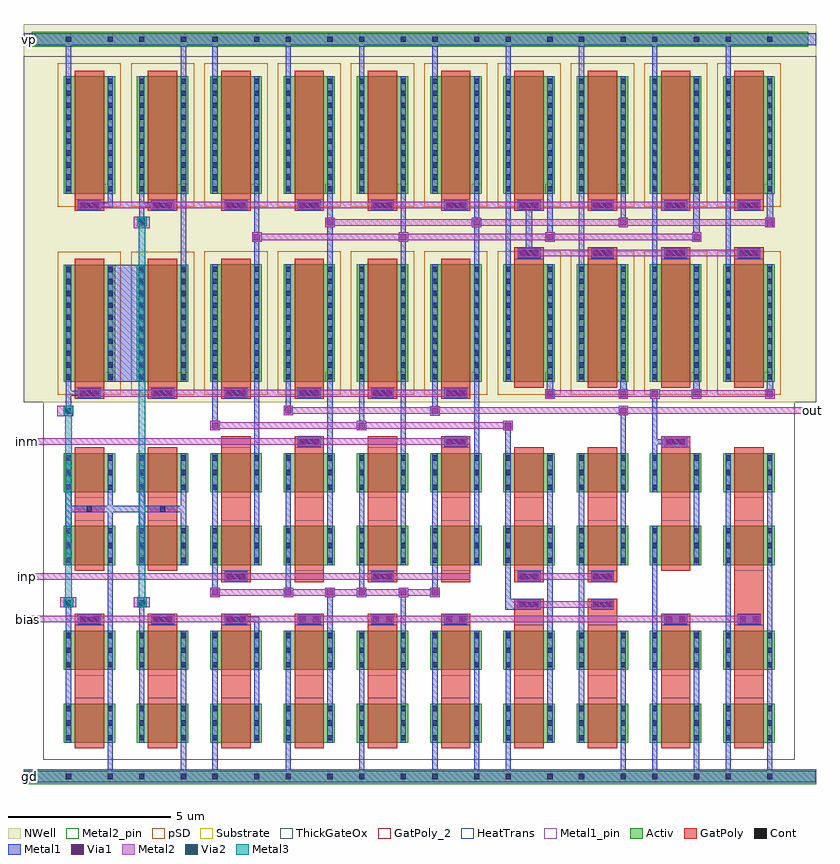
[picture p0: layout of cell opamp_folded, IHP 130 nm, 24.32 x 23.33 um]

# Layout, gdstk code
import gdstk
lib = gdstk.Library(unit=1e-6, precision=1e-09)
def R(c, l, rs):  # rectangles x0, y0, x1, y1
    for r in rs: c.add(gdstk.rectangle(r[:2], r[2:], *l))
def A(c, l, x, y, w, h, nx, ny, dx, dy):  # array of equal rectangles
    R(c, l, [(x+i*dx, y+j*dy, x+i*dx+w, y+j*dy+h) for i in range(nx) for j in range(ny)])
Activ = (1, 0)
GatPoly = (5, 0)
GatPoly_2 = (5, 2)
Cont = (6, 0)
Metal1 = (8, 0)
Metal1_pin = (8, 2)
Metal2 = (10, 0)
Metal2_pin = (10, 2)
pSD = (14, 0)
Via1 = (19, 0)
Via2 = (29, 0)
Metal3 = (30, 0)
NWell = (31, 0)
Substrate = (40, 0)
ThickGateOx = (44, 0)
HeatTrans = (51, 0)

pmoshv = lib.new_cell('pmosHV')
R(pmoshv, Activ, [(0,0,0.3,0.3), (0,0,1.58,3.6), (1.28,0,1.58,0.3)])
R(pmoshv, GatPoly, [(0.34,-0.18,1.24,3.78)])
R(pmoshv, GatPoly_2, [(0.34,-0.18,1.24,3.78)])
A(pmoshv, Cont, 0.07, 0.07, 0.16, 0.16, 1, 3, 0, 0.365)
A(pmoshv, Cont, 1.35, 0.07, 0.16, 0.16, 1, 3, 0, 0.365)
A(pmoshv, Cont, 0.07, 1.17, 0.16, 0.16, 1, 3, 0, 0.365)
A(pmoshv, Cont, 1.35, 1.17, 0.16, 0.16, 1, 3, 0, 0.365)
A(pmoshv, Cont, 0.07, 2.27, 0.16, 0.16, 1, 3, 0, 0.365)
A(pmoshv, Cont, 1.35, 2.27, 0.16, 0.16, 1, 3, 0, 0.365)
R(pmoshv, Cont, [(0.07,3.37,0.23,3.53), (1.35,3.37,1.51,3.53)])
R(pmoshv, Metal1, [(0.07,0,0.23,3.6), (1.35,0,1.51,3.6)])
R(pmoshv, Metal1_pin, [(0.07,0,0.23,3.6), (1.35,0,1.51,3.6)])
R(pmoshv, pSD, [(-0.18,-0.4,1.76,4)])
R(pmoshv, NWell, [(-0.62,-0.62,2.2,4.22)])
R(pmoshv, Substrate, [(1.28,0,1.58,0.3)])
R(pmoshv, ThickGateOx, [(-0.62,-0.62,2.2,4.22)])
R(pmoshv, HeatTrans, [(0.34,-0.18,1.24,3.78)])
pmoshv.add(gdstk.Label('pmosHV', (0.79,1.8), layer=63, texttype=0))
pmoshv.add(gdstk.Label('pmos', (0.79,1.8), layer=51, texttype=0))

via_stack_1 = lib.new_cell('via_stack$1')
R(via_stack_1, Metal1, [(-0.145,-0.145,0.145,0.145)])
R(via_stack_1, Metal2, [(-0.145,-0.145,0.145,0.145)])
R(via_stack_1, Via1, [(-0.095,-0.095,0.095,0.095)])

via_stack_6 = lib.new_cell('via_stack$6')
R(via_stack_6, Metal1, [(-0.145,-0.145,0.145,0.145)])
R(via_stack_6, Metal2, [(-0.145,-0.145,0.145,0.145)])
R(via_stack_6, Via1, [(-0.095,-0.095,0.095,0.095)])
R(via_stack_6, Via2, [(-0.095,-0.095,0.095,0.095)])
R(via_stack_6, Metal3, [(-0.145,-0.145,0.145,0.145)])

via_stack = lib.new_cell('via_stack')
R(via_stack, Metal1, [(-0.35,-0.145,0.35,0.145)])
R(via_stack, Metal2, [(-0.35,-0.145,0.35,0.145)])
R(via_stack, Via1, [(-0.3,-0.095,-0.11,0.095), (0.11,-0.095,0.3,0.095)])

nmoshv = lib.new_cell('nmosHV')
R(nmoshv, Activ, [(0,0,0.3,0.3), (0,0,1.58,1.2), (1.28,0,1.58,0.3)])
R(nmoshv, GatPoly, [(0.34,-0.18,1.24,1.38)])
R(nmoshv, GatPoly_2, [(0.34,-0.18,1.24,1.38)])
A(nmoshv, Cont, 0.07, 0.07, 0.16, 0.16, 1, 3, 0, 0.45)
A(nmoshv, Cont, 1.35, 0.07, 0.16, 0.16, 1, 3, 0, 0.45)
R(nmoshv, Metal1, [(0.07,0,0.23,1.2), (1.35,0,1.51,1.2)])
R(nmoshv, Metal1_pin, [(0.07,0,0.23,1.2), (1.35,0,1.51,1.2)])
R(nmoshv, ThickGateOx, [(-0.27,-0.52,1.85,1.72)])
R(nmoshv, HeatTrans, [(0.34,-0.18,1.24,1.38)])
nmoshv.add(gdstk.Label('nmosHV', (0.79,0.6), layer=63, texttype=0))
nmoshv.add(gdstk.Label('nmosHV', (0.79,0.6), layer=51, texttype=0))

opamp_folded = lib.new_cell('opamp_folded')
A(opamp_folded, GatPoly, 6.06, 5.45, 0.9, 0.34, 4, 2, 2.25, 4.14)
A(opamp_folded, GatPoly, 6.06, 11.08, 0.9, 0.34, 4, 1, 2.25, 0)
A(opamp_folded, GatPoly, 15.06, 15.38, 0.9, 0.34, 4, 1, 2.25, 0)
A(opamp_folded, GatPoly, 1.56, 16.85, 0.9, 0.34, 10, 1, 2.25, 0)
R(opamp_folded, GatPoly, [(1.56,11.075,2.46,11.415), (3.81,11.075,4.71,11.415)])
A(opamp_folded, Cont, 1.71, 4.23, 0.6, 0.16, 3, 1, 2.25, 0)
A(opamp_folded, Cont, 6.21, 5.54, 0.6, 0.16, 3, 1, 4.5, 0)
A(opamp_folded, Cont, 1.71, 11.17, 0.6, 0.16, 6, 1, 2.25, 0)
A(opamp_folded, Cont, 15.21, 15.47, 0.6, 0.16, 4, 1, 2.25, 0)
A(opamp_folded, Cont, 1.71, 16.94, 0.6, 0.16, 10, 1, 2.25, 0)
R(opamp_folded, Cont, [(1.29,-0.6,1.45,-0.44), (2.57,-0.6,2.73,-0.44), (3.54,-0.6,3.7,-0.44), (4.82,-0.6,4.98,-0.44), (5.79,-0.6,5.95,-0.44), (7.07,-0.6,7.23,-0.44), (8.04,-0.6,8.2,-0.44), (9.32,-0.6,9.48,-0.44), (10.29,-0.6,10.45,-0.44), (11.57,-0.6,11.73,-0.44), (12.54,-0.6,12.7,-0.44), (13.82,-0.6,13.98,-0.44), (14.79,-0.6,14.95,-0.44), (16.07,-0.6,16.23,-0.44), (17.04,-0.6,17.2,-0.44), (18.32,-0.6,18.48,-0.44), (19.29,-0.6,19.45,-0.44), (20.57,-0.6,20.73,-0.44), (21.54,-0.6,21.7,-0.44), (22.82,-0.6,22.98,-0.44), (15.21,4.68,15.81,4.84), (17.46,4.68,18.06,4.84), (17.46,5.54,18.06,5.7), (1.93,7.61,2.09,7.77), (4.18,7.61,4.34,7.77), (8.46,9.68,9.06,9.84), (12.96,9.68,13.56,9.84), (19.71,9.68,20.31,9.84), (1.29,22.03,1.45,22.19), (2.57,22.03,2.73,22.19), (3.54,22.03,3.7,22.19), (4.82,22.03,4.98,22.19), (5.79,22.03,5.95,22.19), (7.07,22.03,7.23,22.19), (8.04,22.03,8.2,22.19), (9.32,22.03,9.48,22.19), (10.29,22.03,10.45,22.19), (11.57,22.03,11.73,22.19), (12.54,22.03,12.7,22.19), (13.82,22.03,13.98,22.19), (14.79,22.03,14.95,22.19), (16.07,22.03,16.23,22.19), (17.04,22.03,17.2,22.19), (18.32,22.03,18.48,22.19), (19.29,22.03,19.45,22.19), (20.57,22.03,20.73,22.19), (21.54,22.03,21.7,22.19), (22.82,22.03,22.98,22.19)])
A(opamp_folded, Metal1, 1.66, 4.14, 0.7, 0.34, 6, 1, 2.25, 0)
A(opamp_folded, Metal1, 6.16, 5.45, 0.7, 0.34, 3, 1, 4.5, 0)
A(opamp_folded, Metal1, 6.16, 11.08, 0.7, 0.34, 4, 1, 2.25, 0)
A(opamp_folded, Metal1, 15.16, 15.38, 0.7, 0.34, 4, 1, 2.25, 0)
A(opamp_folded, Metal1, 1.66, 16.85, 0.7, 0.34, 10, 1, 2.25, 0)
R(opamp_folded, Metal1, [(19.66,4.14,20.36,4.48), (21.92,4.14,22.62,4.48), (15.16,4.595,15.86,4.935), (17.41,4.595,18.11,4.935), (17.41,5.45,18.11,5.79), (8.41,9.59,9.11,9.93), (12.91,9.59,13.61,9.93), (19.66,9.59,20.36,9.93), (1.66,11.075,2.36,11.415), (3.91,11.075,4.61,11.415), (2.57,11.595,3.7,15.195)])
R(opamp_folded, Metal1_pin, [(0,-0.7,0.36,-0.34), (0,21.93,0.36,22.29)])
R(opamp_folded, Metal2, [(1.12,4.67,1.61,4.98), (3.38,4.67,3.87,4.98), (19.56,9.59,20.46,9.93), (1.02,10.545,1.51,10.855), (3.38,16.305,3.87,16.665)])
R(opamp_folded, Metal2_pin, [(0,4.21,0.2,4.41), (0,5.52,0.2,5.72), (0,9.66,0.2,9.86), (24.12,10.61,24.32,10.81)])
R(opamp_folded, NWell, [(0,10.975,24.32,22.58)])
R(opamp_folded, ThickGateOx, [(0.6,0,23.67,10.975), (0,10.975,24.32,21.59)])
opamp_folded.add(gdstk.FlexPath([(0,-0.52),(24.32,-0.52)], 0.36, ends="flush", simple_path=True, layer=8, datatype=0))  # Metal1
opamp_folded.add(gdstk.FlexPath([(3.62,17.37),(3.62,17.02),(3.91,17.02)], 0.16, ends="flush", simple_path=True, layer=8, datatype=0))  # Metal1
opamp_folded.add(gdstk.FlexPath([(2.65,17.37),(2.65,17.02),(2.36,17.02)], 0.16, ends="flush", simple_path=True, layer=8, datatype=0))  # Metal1
opamp_folded.add(gdstk.FlexPath([(11.65,20.935),(11.65,15.935)], 0.16, ends="flush", simple_path=True, layer=8, datatype=0))  # Metal1
opamp_folded.add(gdstk.FlexPath([(9.4,20.97),(9.4,16.385)], 0.16, ends="flush", simple_path=True, layer=8, datatype=0))  # Metal1
opamp_folded.add(gdstk.FlexPath([(7.15,20.935),(7.15,15.935)], 0.16, ends="flush", simple_path=True, layer=8, datatype=0))  # Metal1
opamp_folded.add(gdstk.FlexPath([(4.9,15.195),(4.9,22.11)], 0.16, ends="flush", simple_path=True, layer=8, datatype=0))  # Metal1
opamp_folded.add(gdstk.FlexPath([(13.9,20.97),(13.9,16.385)], 0.16, ends="flush", simple_path=True, layer=8, datatype=0))  # Metal1
opamp_folded.add(gdstk.FlexPath([(16.15,20.935),(16.15,15.935)], 0.16, ends="flush", simple_path=True, layer=8, datatype=0))  # Metal1
opamp_folded.add(gdstk.FlexPath([(18.4,20.97),(18.4,16.385)], 0.16, ends="flush", simple_path=True, layer=8, datatype=0))  # Metal1
opamp_folded.add(gdstk.FlexPath([(20.65,17.37),(20.65,15.89)], 0.2, ends="flush", simple_path=True, layer=8, datatype=0))  # Metal1
opamp_folded.add(gdstk.FlexPath([(22.9,17.37),(22.9,16.345)], 0.2, ends="flush", simple_path=True, layer=8, datatype=0))  # Metal1
opamp_folded.add(gdstk.FlexPath([(15.51,17.105),(15.51,15.72)], 0.2, ends="flush", simple_path=True, layer=8, datatype=0))  # Metal1
opamp_folded.add(gdstk.FlexPath([(1.66,11.245),(1.37,11.245),(1.37,11.595)], 0.16, ends="flush", simple_path=True, layer=8, datatype=0))  # Metal1
opamp_folded.add(gdstk.FlexPath([(1.37,11.245),(1.37,10.545)], 0.16, ends="flush", simple_path=True, layer=8, datatype=0))  # Metal1
opamp_folded.add(gdstk.FlexPath([(21.62,11.6),(21.62,22.11)], 0.16, ends="flush", simple_path=True, layer=8, datatype=0))  # Metal1
opamp_folded.add(gdstk.FlexPath([(19.37,11.6),(19.37,22.11)], 0.16, ends="flush", simple_path=True, layer=8, datatype=0))  # Metal1
opamp_folded.add(gdstk.FlexPath([(3.62,16.375),(3.62,17.37)], 0.16, ends="flush", simple_path=True, layer=8, datatype=0))  # Metal1
opamp_folded.add(gdstk.FlexPath([(8.12,11.9),(8.12,10.61)], 0.16, ends="flush", simple_path=True, layer=8, datatype=0))  # Metal1
opamp_folded.add(gdstk.FlexPath([(12.62,11.9),(12.62,10.61)], 0.16, ends="flush", simple_path=True, layer=8, datatype=0))  # Metal1
opamp_folded.add(gdstk.FlexPath([(1.37,0.52),(1.37,4.96)], 0.16, ends="flush", simple_path=True, layer=8, datatype=0))  # Metal1
opamp_folded.add(gdstk.FlexPath([(15.16,4.765),(14.78,4.765)], 0.34, ends="flush", simple_path=True, layer=8, datatype=0))  # Metal1
opamp_folded.add(gdstk.FlexPath([(0,22.11),(24.32,22.11)], 0.36, ends="flush", simple_path=True, layer=8, datatype=0))  # Metal1
opamp_folded.add(gdstk.FlexPath([(4.9,3.96),(4.9,-0.52)], 0.16, ends="flush", simple_path=True, layer=8, datatype=0))  # Metal1
opamp_folded.add(gdstk.FlexPath([(5.87,3.96),(5.87,-0.52)], 0.16, ends="flush", simple_path=True, layer=8, datatype=0))  # Metal1
opamp_folded.add(gdstk.FlexPath([(8.12,3.96),(8.12,-0.52)], 0.16, ends="flush", simple_path=True, layer=8, datatype=0))  # Metal1
opamp_folded.add(gdstk.FlexPath([(10.37,3.96),(10.37,-0.52)], 0.16, ends="flush", simple_path=True, layer=8, datatype=0))  # Metal1
opamp_folded.add(gdstk.FlexPath([(13.9,3.96),(13.9,-0.52)], 0.16, ends="flush", simple_path=True, layer=8, datatype=0))  # Metal1
opamp_folded.add(gdstk.FlexPath([(12.62,3.96),(12.62,-0.52)], 0.16, ends="flush", simple_path=True, layer=8, datatype=0))  # Metal1
opamp_folded.add(gdstk.FlexPath([(14.87,3.96),(14.87,-0.52)], 0.16, ends="flush", simple_path=True, layer=8, datatype=0))  # Metal1
opamp_folded.add(gdstk.FlexPath([(18.4,3.96),(18.4,-0.52)], 0.16, ends="flush", simple_path=True, layer=8, datatype=0))  # Metal1
opamp_folded.add(gdstk.FlexPath([(20.65,3.96),(20.65,-0.52)], 0.16, ends="flush", simple_path=True, layer=8, datatype=0))  # Metal1
opamp_folded.add(gdstk.FlexPath([(21.62,9.41),(21.62,-0.52)], 0.16, ends="flush", simple_path=True, layer=8, datatype=0))  # Metal1
opamp_folded.add(gdstk.FlexPath([(22.9,9.41),(22.9,-0.52)], 0.16, ends="flush", simple_path=True, layer=8, datatype=0))  # Metal1
opamp_folded.add(gdstk.FlexPath([(16.15,11.6),(16.15,11.125)], 0.2, ends="flush", simple_path=True, layer=8, datatype=0))  # Metal1
opamp_folded.add(gdstk.FlexPath([(18.4,11.6),(18.4,11.125)], 0.2, ends="flush", simple_path=True, layer=8, datatype=0))  # Metal1
opamp_folded.add(gdstk.FlexPath([(1.37,17.37),(1.37,22.11)], 0.16, ends="flush", simple_path=True, layer=8, datatype=0))  # Metal1
opamp_folded.add(gdstk.FlexPath([(5.87,17.37),(5.87,22.11)], 0.16, ends="flush", simple_path=True, layer=8, datatype=0))  # Metal1
opamp_folded.add(gdstk.FlexPath([(8.12,17.37),(8.12,22.11)], 0.16, ends="flush", simple_path=True, layer=8, datatype=0))  # Metal1
opamp_folded.add(gdstk.FlexPath([(10.37,17.37),(10.37,22.11)], 0.16, ends="flush", simple_path=True, layer=8, datatype=0))  # Metal1
opamp_folded.add(gdstk.FlexPath([(12.62,17.37),(12.62,22.11)], 0.16, ends="flush", simple_path=True, layer=8, datatype=0))  # Metal1
opamp_folded.add(gdstk.FlexPath([(17.12,11.6),(17.12,22.11)], 0.16, ends="flush", simple_path=True, layer=8, datatype=0))  # Metal1
opamp_folded.add(gdstk.FlexPath([(14.87,11.6),(14.87,22.11)], 0.16, ends="flush", simple_path=True, layer=8, datatype=0))  # Metal1
opamp_folded.add(gdstk.FlexPath([(20.65,11.6),(20.65,11.13)], 0.2, ends="flush", simple_path=True, layer=8, datatype=0))  # Metal1
opamp_folded.add(gdstk.FlexPath([(22.9,11.6),(22.9,11.13)], 0.2, ends="flush", simple_path=True, layer=8, datatype=0))  # Metal1
opamp_folded.add(gdstk.FlexPath([(19.37,9.41),(19.37,11.37)], 0.16, ends="flush", simple_path=True, layer=8, datatype=0))  # Metal1
opamp_folded.add(gdstk.FlexPath([(1.37,7.17),(1.37,8.21)], 0.16, ends="flush", simple_path=True, layer=8, datatype=0))  # Metal1
opamp_folded.add(gdstk.FlexPath([(2.65,7.17),(2.65,8.21)], 0.16, ends="flush", simple_path=True, layer=8, datatype=0))  # Metal1
opamp_folded.add(gdstk.FlexPath([(3.62,7.17),(3.62,8.21)], 0.16, ends="flush", simple_path=True, layer=8, datatype=0))  # Metal1
opamp_folded.add(gdstk.FlexPath([(4.9,7.17),(4.9,8.21)], 0.16, ends="flush", simple_path=True, layer=8, datatype=0))  # Metal1
opamp_folded.add(gdstk.FlexPath([(2.65,5.97),(2.65,3.96)], 0.16, ends="flush", simple_path=True, layer=8, datatype=0))  # Metal1
opamp_folded.add(gdstk.FlexPath([(1.365,7.69),(4.9,7.69)], 0.2, ends="flush", simple_path=True, layer=8, datatype=0))  # Metal1
opamp_folded.add(gdstk.FlexPath([(14.86,4.595),(14.86,10.345)], 0.16, ends="flush", simple_path=True, layer=8, datatype=0))  # Metal1
opamp_folded.add(gdstk.FlexPath([(19.37,5.97),(19.37,-0.52)], 0.16, ends="flush", simple_path=True, layer=8, datatype=0))  # Metal1
opamp_folded.add(gdstk.FlexPath([(10.37,9.41),(10.37,5.03)], 0.16, ends="flush", simple_path=True, layer=8, datatype=0))  # Metal1
opamp_folded.add(gdstk.FlexPath([(7.15,5.97),(7.15,15.93)], 0.16, ends="flush", simple_path=True, layer=8, datatype=0))  # Metal1
opamp_folded.add(gdstk.FlexPath([(12.62,9.41),(12.62,5.03)], 0.16, ends="flush", simple_path=True, layer=8, datatype=0))  # Metal1
opamp_folded.add(gdstk.FlexPath([(9.4,5.97),(9.4,16.355)], 0.16, ends="flush", simple_path=True, layer=8, datatype=0))  # Metal1
opamp_folded.add(gdstk.FlexPath([(11.65,3.96),(11.65,0.52)], 0.16, ends="flush", simple_path=True, layer=8, datatype=0))  # Metal1
opamp_folded.add(gdstk.FlexPath([(11.65,0.52),(11.65,5.24)], 0.16, ends="flush", simple_path=True, layer=8, datatype=0))  # Metal1
opamp_folded.add(gdstk.FlexPath([(16.15,0.52),(16.15,9.41)], 0.16, ends="flush", simple_path=True, layer=8, datatype=0))  # Metal1
opamp_folded.add(gdstk.FlexPath([(17.12,9.41),(17.12,0.52)], 0.16, ends="flush", simple_path=True, layer=8, datatype=0))  # Metal1
opamp_folded.add(gdstk.FlexPath([(11.65,5.97),(11.65,15.935)], 0.16, ends="flush", simple_path=True, layer=8, datatype=0))  # Metal1
opamp_folded.add(gdstk.FlexPath([(13.9,5.97),(13.9,16.35)], 0.16, ends="flush", simple_path=True, layer=8, datatype=0))  # Metal1
opamp_folded.add(gdstk.FlexPath([(8.12,9.34),(8.12,5.03)], 0.16, ends="flush", simple_path=True, layer=8, datatype=0))  # Metal1
opamp_folded.add(gdstk.FlexPath([(5.87,9.41),(5.87,5.035)], 0.16, ends="flush", simple_path=True, layer=8, datatype=0))  # Metal1
opamp_folded.add(gdstk.FlexPath([(18.4,5.97),(18.4,10.765)], 0.16, ends="flush", simple_path=True, layer=8, datatype=0))  # Metal1
opamp_folded.add(gdstk.FlexPath([(9.4,0.52),(9.4,5.24)], 0.16, ends="flush", simple_path=True, layer=8, datatype=0))  # Metal1
opamp_folded.add(gdstk.FlexPath([(7.15,0.52),(7.15,4.31),(6.86,4.31)], 0.16, ends="flush", simple_path=True, layer=8, datatype=0))  # Metal1
opamp_folded.add(gdstk.FlexPath([(5.87,11.865),(5.87,10.15)], 0.16, ends="flush", simple_path=True, layer=8, datatype=0))  # Metal1
opamp_folded.add(gdstk.FlexPath([(10.37,11.865),(10.37,10.15)], 0.16, ends="flush", simple_path=True, layer=8, datatype=0))  # Metal1
opamp_folded.add(gdstk.FlexPath([(3.62,0.52),(3.62,4.83)], 0.16, ends="flush", simple_path=True, layer=8, datatype=0))  # Metal1
opamp_folded.add(gdstk.FlexPath([(20.65,7.17),(20.65,8.21)], 0.16, ends="flush", simple_path=True, layer=8, datatype=0))  # Metal1
opamp_folded.add(gdstk.FlexPath([(19.37,9.41),(19.37,9.76),(19.66,9.76)], 0.16, ends="flush", simple_path=True, layer=8, datatype=0))  # Metal1
opamp_folded.add(gdstk.FlexPath([(2.65,3.96),(2.65,-0.52)], 0.16, ends="flush", simple_path=True, layer=8, datatype=0))  # Metal1
opamp_folded.add(gdstk.FlexPath([(22.61,17.02),(4.56,17.02)], 0.2, ends="flush", simple_path=True, layer=10, datatype=0))  # Metal2
opamp_folded.add(gdstk.FlexPath([(4.61,17.02),(1.66,17.02)], 0.2, ends="flush", simple_path=True, layer=10, datatype=0))  # Metal2
opamp_folded.add(gdstk.FlexPath([(23.05,16.49),(9.255,16.49)], 0.2, ends="flush", simple_path=True, layer=10, datatype=0))  # Metal2
opamp_folded.add(gdstk.FlexPath([(7.005,16.035),(20.8,16.035)], 0.2, ends="flush", simple_path=True, layer=10, datatype=0))  # Metal2
opamp_folded.add(gdstk.FlexPath([(1.66,11.245),(13.61,11.245)], 0.2, ends="flush", simple_path=True, layer=10, datatype=0))  # Metal2
opamp_folded.add(gdstk.FlexPath([(15.16,15.55),(22.61,15.55)], 0.2, ends="flush", simple_path=True, layer=10, datatype=0))  # Metal2
opamp_folded.add(gdstk.FlexPath([(8.02,10.71),(24.32,10.71)], 0.2, ends="flush", simple_path=True, layer=10, datatype=0))  # Metal2
opamp_folded.add(gdstk.FlexPath([(13.71,9.76),(0,9.76)], 0.2, ends="flush", simple_path=True, layer=10, datatype=0))  # Metal2
opamp_folded.add(gdstk.FlexPath([(13.71,5.62),(0,5.62)], 0.2, ends="flush", simple_path=True, layer=10, datatype=0))  # Metal2
opamp_folded.add(gdstk.FlexPath([(15.16,4.765),(18.11,4.765)], 0.2, ends="flush", simple_path=True, layer=10, datatype=0))  # Metal2
opamp_folded.add(gdstk.FlexPath([(23.045,11.23),(16.005,11.23)], 0.2, ends="flush", simple_path=True, layer=10, datatype=0))  # Metal2
opamp_folded.add(gdstk.FlexPath([(0,4.31),(22.62,4.31)], 0.2, ends="flush", simple_path=True, layer=10, datatype=0))  # Metal2
opamp_folded.add(gdstk.FlexPath([(15.16,5.62),(18.11,5.62)], 0.2, ends="flush", simple_path=True, layer=10, datatype=0))  # Metal2
opamp_folded.add(gdstk.FlexPath([(5.77,10.25),(14.94,10.25)], 0.2, ends="flush", simple_path=True, layer=10, datatype=0))  # Metal2
opamp_folded.add(gdstk.FlexPath([(12.765,5.135),(5.725,5.135)], 0.2, ends="flush", simple_path=True, layer=10, datatype=0))  # Metal2
opamp_folded.add(gdstk.FlexPath([(3.625,4.825),(3.625,16.58)], 0.2, ends="flush", simple_path=True, layer=30, datatype=0))  # Metal3
opamp_folded.add(gdstk.FlexPath([(1.365,10.575),(1.365,4.825)], 0.2, ends="flush", simple_path=True, layer=30, datatype=0))  # Metal3
opamp_folded.add(gdstk.FlexPath([(0,-0.52),(24.32,-0.52)], 0.46, ends="flush", simple_path=True, layer=1, datatype=0))  # Activ
opamp_folded.add(gdstk.FlexPath([(0.24,22.11),(24.08,22.11)], 0.46, ends="flush", simple_path=True, layer=1, datatype=0))  # Activ
opamp_folded.add(gdstk.FlexPath([(17.76,0.34),(17.76,4.935)], 0.9, ends="flush", simple_path=True, layer=5, datatype=0))  # GatPoly
opamp_folded.add(gdstk.FlexPath([(15.51,0.34),(15.51,4.935)], 0.9, ends="flush", simple_path=True, layer=5, datatype=0))  # GatPoly
opamp_folded.add(gdstk.FlexPath([(11.01,7.35),(11.01,8.03)], 0.9, ends="flush", simple_path=True, layer=5, datatype=0))  # GatPoly
opamp_folded.add(gdstk.FlexPath([(13.26,7.35),(13.26,8.03)], 0.9, ends="flush", simple_path=True, layer=5, datatype=0))  # GatPoly
opamp_folded.add(gdstk.FlexPath([(11.01,0.34),(11.01,4.48)], 0.9, ends="flush", simple_path=True, layer=5, datatype=0))  # GatPoly
opamp_folded.add(gdstk.FlexPath([(8.76,0.34),(8.76,4.48)], 0.9, ends="flush", simple_path=True, layer=5, datatype=0))  # GatPoly
opamp_folded.add(gdstk.FlexPath([(13.26,0.34),(13.26,4.48)], 0.9, ends="flush", simple_path=True, layer=5, datatype=0))  # GatPoly
opamp_folded.add(gdstk.FlexPath([(20.01,0.34),(20.01,4.48)], 0.9, ends="flush", simple_path=True, layer=5, datatype=0))  # GatPoly
opamp_folded.add(gdstk.FlexPath([(8.76,7.35),(8.76,8.03)], 0.9, ends="flush", simple_path=True, layer=5, datatype=0))  # GatPoly
opamp_folded.add(gdstk.FlexPath([(6.51,7.35),(6.51,8.03)], 0.9, ends="flush", simple_path=True, layer=5, datatype=0))  # GatPoly
opamp_folded.add(gdstk.FlexPath([(15.51,5.45),(15.51,8.03)], 0.9, ends="flush", simple_path=True, layer=5, datatype=0))  # GatPoly
opamp_folded.add(gdstk.FlexPath([(17.76,5.45),(17.76,8.03)], 0.9, ends="flush", simple_path=True, layer=5, datatype=0))  # GatPoly
opamp_folded.add(gdstk.FlexPath([(2.01,0.34),(2.01,4.48)], 0.9, ends="flush", simple_path=True, layer=5, datatype=0))  # GatPoly
opamp_folded.add(gdstk.FlexPath([(4.26,0.34),(4.26,4.48)], 0.9, ends="flush", simple_path=True, layer=5, datatype=0))  # GatPoly
opamp_folded.add(gdstk.FlexPath([(4.26,7.35),(4.26,8.03)], 0.9, ends="flush", simple_path=True, layer=5, datatype=0))  # GatPoly
opamp_folded.add(gdstk.FlexPath([(2.01,7.35),(2.01,8.03)], 0.9, ends="flush", simple_path=True, layer=5, datatype=0))  # GatPoly
opamp_folded.add(gdstk.FlexPath([(6.51,4.48),(6.51,0.34)], 0.9, ends="flush", simple_path=True, layer=5, datatype=0))  # GatPoly
opamp_folded.add(gdstk.FlexPath([(20.01,9.93),(20.01,5.79)], 0.9, ends="flush", simple_path=True, layer=5, datatype=0))  # GatPoly
opamp_folded.add(gdstk.FlexPath([(22.26,0.34),(22.26,4.48)], 0.9, ends="flush", simple_path=True, layer=5, datatype=0))  # GatPoly
opamp_folded.add(gdstk.FlexPath([(22.26,9.59),(22.26,4.48)], 0.9, ends="flush", simple_path=True, layer=5, datatype=0))  # GatPoly
opamp_folded.add(gdstk.FlexPath([(0.03,-0.52),(24.29,-0.52)], 0.36, ends="flush", simple_path=True, layer=14, datatype=0))  # pSD
opamp_folded.add(gdstk.Reference(pmoshv, (10.22,17.37)))
opamp_folded.add(gdstk.Reference(pmoshv, (12.47,17.37)))
opamp_folded.add(gdstk.Reference(via_stack_1, (18.4,10.71)))
opamp_folded.add(gdstk.Reference(via_stack_1, (12.62,10.705)))
opamp_folded.add(gdstk.Reference(pmoshv, (10.22,11.6)))
opamp_folded.add(gdstk.Reference(pmoshv, (12.47,11.6)))
opamp_folded.add(gdstk.Reference(via_stack_1, (8.115,10.72)))
opamp_folded.add(gdstk.Reference(via_stack_6, (1.365,10.71)))
opamp_folded.add(gdstk.Reference(via_stack, (13.26,11.25)))
opamp_folded.add(gdstk.Reference(pmoshv, (19.22,17.37)))
opamp_folded.add(gdstk.Reference(pmoshv, (21.47,17.37)))
opamp_folded.add(gdstk.Reference(via_stack_1, (13.9,16.49)))
opamp_folded.add(gdstk.Reference(via_stack_1, (16.15,16.035)))
opamp_folded.add(gdstk.Reference(via_stack_1, (18.4,16.49)))
opamp_folded.add(gdstk.Reference(via_stack_1, (20.655,16.035)))
opamp_folded.add(gdstk.Reference(via_stack_1, (22.905,16.485)))
opamp_folded.add(gdstk.Reference(via_stack, (13.26,17.02)))
opamp_folded.add(gdstk.Reference(via_stack, (15.51,17.02)))
opamp_folded.add(gdstk.Reference(via_stack, (17.76,17.02)))
opamp_folded.add(gdstk.Reference(via_stack, (20.01,17.02)))
opamp_folded.add(gdstk.Reference(via_stack, (22.26,17.02)))
opamp_folded.add(gdstk.Reference(pmoshv, (14.72,17.37)))
opamp_folded.add(gdstk.Reference(pmoshv, (14.72,11.6)))
opamp_folded.add(gdstk.Reference(pmoshv, (21.47,11.6)))
opamp_folded.add(gdstk.Reference(via_stack, (15.51,15.55)))
opamp_folded.add(gdstk.Reference(via_stack, (17.76,15.55)))
opamp_folded.add(gdstk.Reference(via_stack, (20.01,15.55)))
opamp_folded.add(gdstk.Reference(via_stack, (22.26,15.55)))
opamp_folded.add(gdstk.Reference(pmoshv, (16.97,17.37)))
opamp_folded.add(gdstk.Reference(pmoshv, (16.97,11.6)))
opamp_folded.add(gdstk.Reference(via_stack_1, (18.4,11.22)))
opamp_folded.add(gdstk.Reference(via_stack_1, (16.15,11.22)))
opamp_folded.add(gdstk.Reference(pmoshv, (19.22,11.6)))
opamp_folded.add(gdstk.Reference(via_stack_1, (20.65,11.225)))
opamp_folded.add(gdstk.Reference(via_stack_1, (22.9,11.225)))
opamp_folded.add(gdstk.Reference(via_stack_1, (19.37,11.225)))
opamp_folded.add(gdstk.Reference(pmoshv, (7.97,11.6)))
opamp_folded.add(gdstk.Reference(via_stack_1, (7.15,16.035)))
opamp_folded.add(gdstk.Reference(via_stack_1, (11.65,16.035)))
opamp_folded.add(gdstk.Reference(via_stack, (2.01,17.02)))
opamp_folded.add(gdstk.Reference(via_stack_1, (9.4,16.49)))
opamp_folded.add(gdstk.Reference(pmoshv, (3.47,17.37)))
opamp_folded.add(gdstk.Reference(via_stack, (6.51,17.02)))
opamp_folded.add(gdstk.Reference(via_stack, (8.76,17.02)))
opamp_folded.add(gdstk.Reference(pmoshv, (5.72,11.6)))
opamp_folded.add(gdstk.Reference(via_stack, (8.76,11.25)))
opamp_folded.add(gdstk.Reference(pmoshv, (7.97,17.37)))
opamp_folded.add(gdstk.Reference(via_stack, (11.01,11.25)))
opamp_folded.add(gdstk.Reference(via_stack, (11.01,17.02)))
opamp_folded.add(gdstk.Reference(via_stack, (4.26,17.02)))
opamp_folded.add(gdstk.Reference(via_stack_6, (3.625,16.52)))
opamp_folded.add(gdstk.Reference(via_stack, (6.51,11.25)))
opamp_folded.add(gdstk.Reference(pmoshv, (5.72,17.37)))
opamp_folded.add(gdstk.Reference(pmoshv, (1.22,17.37)))
opamp_folded.add(gdstk.Reference(pmoshv, (1.22,11.595)))
opamp_folded.add(gdstk.Reference(pmoshv, (3.47,11.595)))
opamp_folded.add(gdstk.Reference(via_stack, (2.01,11.245)))
opamp_folded.add(gdstk.Reference(via_stack, (4.26,11.245)))
opamp_folded.add(gdstk.Reference(nmoshv, (10.22,5.97)))
opamp_folded.add(gdstk.Reference(via_stack_1, (10.37,5.135)))
opamp_folded.add(gdstk.Reference(via_stack_1, (10.37,10.25)))
opamp_folded.add(gdstk.Reference(via_stack, (11.01,5.62)))
opamp_folded.add(gdstk.Reference(via_stack, (8.76,4.31)))
opamp_folded.add(gdstk.Reference(nmoshv, (5.72,2.76)))
opamp_folded.add(gdstk.Reference(via_stack, (6.51,4.31)))
opamp_folded.add(gdstk.Reference(nmoshv, (3.47,2.76)))
opamp_folded.add(gdstk.Reference(nmoshv, (3.47,0.52)))
opamp_folded.add(gdstk.Reference(nmoshv, (10.22,2.76)))
opamp_folded.add(gdstk.Reference(via_stack_1, (5.87,10.25)))
opamp_folded.add(gdstk.Reference(via_stack, (4.26,4.31)))
opamp_folded.add(gdstk.Reference(nmoshv, (7.97,2.76)))
opamp_folded.add(gdstk.Reference(nmoshv, (3.47,8.21)))
opamp_folded.add(gdstk.Reference(nmoshv, (3.47,5.97)))
opamp_folded.add(gdstk.Reference(nmoshv, (1.22,8.21)))
opamp_folded.add(gdstk.Reference(nmoshv, (1.22,5.97)))
opamp_folded.add(gdstk.Reference(via_stack_1, (11.65,5.135)))
opamp_folded.add(gdstk.Reference(nmoshv, (7.97,0.52)))
opamp_folded.add(gdstk.Reference(via_stack, (11.01,4.31)))
opamp_folded.add(gdstk.Reference(nmoshv, (10.22,0.52)))
opamp_folded.add(gdstk.Reference(nmoshv, (10.22,8.21)))
opamp_folded.add(gdstk.Reference(via_stack, (6.51,5.62)))
opamp_folded.add(gdstk.Reference(via_stack_1, (8.12,5.135)))
opamp_folded.add(gdstk.Reference(via_stack, (8.76,9.76)))
opamp_folded.add(gdstk.Reference(via_stack_6, (1.365,4.815)))
opamp_folded.add(gdstk.Reference(via_stack_1, (5.87,5.135)))
opamp_folded.add(gdstk.Reference(nmoshv, (7.97,8.21)))
opamp_folded.add(gdstk.Reference(via_stack_6, (3.625,4.815)))
opamp_folded.add(gdstk.Reference(nmoshv, (7.97,5.97)))
opamp_folded.add(gdstk.Reference(nmoshv, (5.72,0.52)))
opamp_folded.add(gdstk.Reference(via_stack_1, (9.4,5.135)))
opamp_folded.add(gdstk.Reference(via_stack, (2.01,4.31)))
opamp_folded.add(gdstk.Reference(nmoshv, (1.22,2.76)))
opamp_folded.add(gdstk.Reference(nmoshv, (1.22,0.52)))
opamp_folded.add(gdstk.Reference(nmoshv, (5.72,8.21)))
opamp_folded.add(gdstk.Reference(nmoshv, (5.72,5.97)))
opamp_folded.add(gdstk.Reference(via_stack, (17.76,4.765)))
opamp_folded.add(gdstk.Reference(via_stack, (17.76,5.62)))
opamp_folded.add(gdstk.Reference(via_stack, (15.51,5.62)))
opamp_folded.add(gdstk.Reference(via_stack, (15.51,4.765)))
opamp_folded.add(gdstk.Reference(nmoshv, (12.47,0.52)))
opamp_folded.add(gdstk.Reference(via_stack_1, (12.62,5.135)))
opamp_folded.add(gdstk.Reference(via_stack_1, (14.86,10.25)))
opamp_folded.add(gdstk.Reference(nmoshv, (16.97,5.97)))
opamp_folded.add(gdstk.Reference(nmoshv, (12.47,8.21)))
opamp_folded.add(gdstk.Reference(via_stack, (13.26,4.31)))
opamp_folded.add(gdstk.Reference(nmoshv, (14.72,0.52)))
opamp_folded.add(gdstk.Reference(nmoshv, (19.22,8.21)))
opamp_folded.add(gdstk.Reference(nmoshv, (19.22,5.97)))
opamp_folded.add(gdstk.Reference(via_stack, (20.01,9.76)))
opamp_folded.add(gdstk.Reference(nmoshv, (21.47,2.76)))
opamp_folded.add(gdstk.Reference(nmoshv, (21.47,0.52)))
opamp_folded.add(gdstk.Reference(nmoshv, (21.47,8.21)))
opamp_folded.add(gdstk.Reference(nmoshv, (21.47,5.97)))
opamp_folded.add(gdstk.Reference(via_stack, (22.27,4.31)))
opamp_folded.add(gdstk.Reference(nmoshv, (16.97,8.21)))
opamp_folded.add(gdstk.Reference(nmoshv, (19.22,2.76)))
opamp_folded.add(gdstk.Reference(via_stack, (20.01,4.31)))
opamp_folded.add(gdstk.Reference(nmoshv, (19.22,0.52)))
opamp_folded.add(gdstk.Reference(nmoshv, (16.97,2.76)))
opamp_folded.add(gdstk.Reference(nmoshv, (14.72,2.76)))
opamp_folded.add(gdstk.Reference(nmoshv, (12.47,2.76)))
opamp_folded.add(gdstk.Reference(via_stack, (13.26,9.76)))
opamp_folded.add(gdstk.Reference(nmoshv, (12.47,5.97)))
opamp_folded.add(gdstk.Reference(nmoshv, (14.72,5.97)))
opamp_folded.add(gdstk.Reference(nmoshv, (14.72,8.21)))
opamp_folded.add(gdstk.Reference(nmoshv, (16.97,0.52)))
opamp_folded.add(gdstk.Label('gd', (0.18,-0.52), layer=8, texttype=25))
opamp_folded.add(gdstk.Label('vp', (0.18,22.11), layer=8, texttype=25))
opamp_folded.add(gdstk.Label('out', (24.22,10.71), layer=10, texttype=25))
opamp_folded.add(gdstk.Label('inm', (0.1,9.76), layer=10, texttype=25))
opamp_folded.add(gdstk.Label('inp', (0.1,5.62), layer=10, texttype=25))
opamp_folded.add(gdstk.Label('bias', (0.1,4.31), layer=10, texttype=25))

lib.write_gds('opamp_folded.gds')
